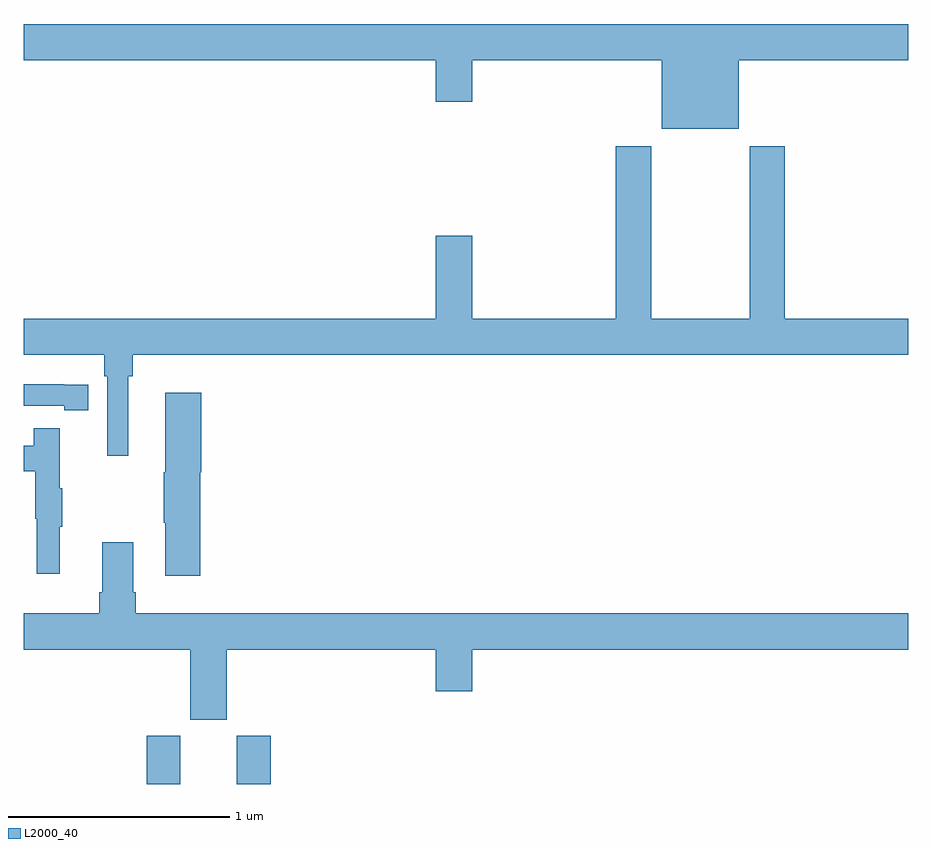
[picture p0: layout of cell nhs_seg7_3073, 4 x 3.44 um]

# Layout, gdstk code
import gdstk
lib = gdstk.Library(unit=1e-6, precision=1e-09)
def R(c, l, rs):  # rectangles x0, y0, x1, y1
    for r in rs: c.add(gdstk.rectangle(r[:2], r[2:], *l))
def P(c, l, *ps):  # polygons
    for p in ps: c.add(gdstk.Polygon(p, *l))
L2000_40 = (2000, 40)

nhs_seg7_3073 = lib.new_cell('nhs_seg7_3073')
R(nhs_seg7_3073, L2000_40, [(307.556,1008,307.708,1008.219), (307.964,1008,308.117,1008.219)])
P(nhs_seg7_3073, L2000_40, [(310.234,1011.272),(311,1011.272),(311,1011.436),(307,1011.436),(307,1011.272),(308.864,1011.272),(308.864,1011.084),(309.028,1011.084),(309.028,1011.272),(309.884,1011.272),(309.884,1010.963),(310.234,1010.963)],
  [(307.474,1009.844),(307.493,1009.844),(307.493,1009.94),(311,1009.94),(311,1010.104),(310.442,1010.104),(310.442,1010.884),(310.282,1010.884),(310.282,1010.104),(309.837,1010.104),(309.837,1010.884),(309.677,1010.884),(309.677,1010.104),(309.028,1010.104),(309.028,1010.479),(308.864,1010.479),(308.864,1010.104),(307,1010.104),(307,1009.94),(307.364,1009.94),(307.364,1009.844),(307.377,1009.844),(307.377,1009.485),(307.474,1009.485)],
  [(307.292,1009.806),(307.184,1009.806),(307.184,1009.807),(307,1009.807),(307,1009.71),(307.184,1009.71),(307.184,1009.69),(307.292,1009.69)],
  [(307.799,1009.41),(307.804,1009.41),(307.804,1009.768),(307.64,1009.768),(307.64,1009.41),(307.633,1009.41),(307.633,1009.18),(307.64,1009.18),(307.64,1008.942),(307.799,1008.942)],
  [(307.163,1009.163),(307.174,1009.163),(307.174,1009.337),(307.163,1009.337),(307.163,1009.609),(307.045,1009.609),(307.045,1009.53),(307,1009.53),(307,1009.414),(307.053,1009.414),(307.053,1009.2),(307.06,1009.2),(307.06,1008.951),(307.163,1008.951)],
  [(307.918,1008.608),(308.864,1008.608),(308.864,1008.42),(309.028,1008.42),(309.028,1008.608),(311,1008.608),(311,1008.772),(307.508,1008.772),(307.508,1008.868),(307.495,1008.868),(307.495,1009.093),(307.355,1009.093),(307.355,1008.868),(307.343,1008.868),(307.343,1008.772),(307,1008.772),(307,1008.608),(307.754,1008.608),(307.754,1008.291),(307.918,1008.291)])

lib.write_gds('nhs_seg7_3073.gds')
